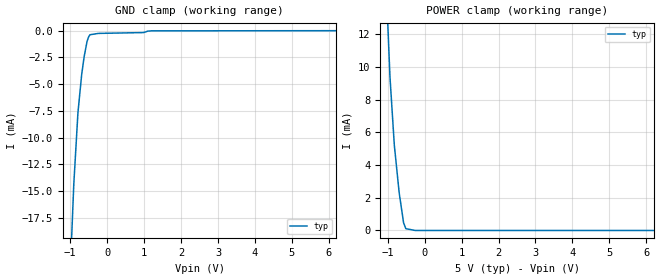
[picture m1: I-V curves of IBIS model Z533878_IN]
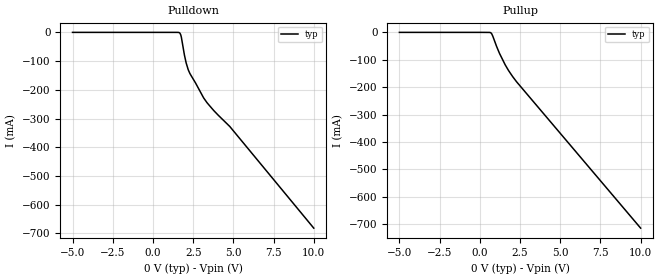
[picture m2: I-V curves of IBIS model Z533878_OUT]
| YOU ARE ONLY AUTHORIZED TO USE THIS SOFTWARE
| ACCORDING TO LICENSOR'S LICENSE RESTRICTIONS.
[IBIS Ver] 3.1
[File Name] mc10elt24d.ibs
[File Rev] 2.0
[Source] derived from MC100ELT20D Measured data
[Date] 10/10/2003
[Copyright]
| (C) COPYRIGHT 1993-2000
| MENTOR GRAPHICS CORPORATION
| ICX STANDARD LIBRARY, ICX PROJECT MODELING,
| ICX CUSTOM MODELING, ICX VENDOR MODEL
| ALL RIGHTS RESERVED.
| THE FOLLOWING ARE TRADEMARKS OR SERVICE MARKS OF
| MENTOR GRAPHICS CORPORATION:ICX (R), ICX STANDARD
| LIBRARY(R), ICX PROJECT MODELING(R), ICX CUSTOM
| MODELING(R), qualityIBIS(TM), MODELVIEWER(TM),
| AND MODELEDITOR(TM)
| ALL COPIES OF SOFTWARE, INCLUDING BUT NOT LIMITED TO
| ANY MODIFICATIONS, ENHANCEMENTS OR DERIVATIVE WORKS,
| MUST CONTAIN ALL MENTOR GRAPHICS CORPORATION'S
| NOTICES AND LEGENDS, INCLUDING THOSE EMBEDDED IN
| SOFTWARE AND THOSE AFFIXED TO SOFTWARE MEDIUM
| AND CONTAINER, AS RECEIVED FROM MENTOR GRAPHICS
| CORPORATION.
|  ZAP Model Builder 2.7
[Component] MC10ELT24D
[Manufacturer] On Semiconductor
[Package]
| variable   typ   min   max
R_pkg  .152ohms NA NA
L_pkg  2.714nH NA NA
C_pkg  .364pF NA NA
[Pin] signal_name  model_name  R_pin  L_pin C_pin
1 VEE POWER .154 2.924n .374p
2 D Z533878_IN .15 2.504n .354p
3 NC NC
4 NC NC
5 GND GND .154 2.924n .374p
6 _Q0 Z533878_OUT .15 2.504n .354p
7 Q0 Z533878_OUT .15 2.504n .354p
8 VCC POWER .154 2.924n .374p
[Diff Pin] inv_pin vdiff tdelay_typ tdelay_min tdelay_max
7 6 NA NA NA NA
| Models and submodels in the file (2): Z533878_IN (Input), Z533878_OUT (Output_ECL)
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| (C) COPYRIGHT 1993-2000
| MENTOR GRAPHICS CORPORATION
| ICX STANDARD LIBRARY, ICX PROJECT MODELING,
| ICX CUSTOM MODELING, ICX VENDOR MODEL
| ALL RIGHTS RESERVED.
| THE FOLLOWING ARE TRADEMARKS OR SERVICE MARKS OF
| MENTOR GRAPHICS CORPORATION:ICX (R), ICX STANDARD
| LIBRARY(R), ICX PROJECT MODELING(R), ICX CUSTOM
| MODELING(R), qualityIBIS(TM), MODELVIEWER(TM),
| AND MODELEDITOR(TM)
| ALL COPIES OF SOFTWARE, INCLUDING BUT NOT LIMITED TO
| ANY MODIFICATIONS, ENHANCEMENTS OR DERIVATIVE WORKS,
| MUST CONTAIN ALL MENTOR GRAPHICS CORPORATION'S
| NOTICES AND LEGENDS, INCLUDING THOSE EMBEDDED IN
| SOFTWARE AND THOSE AFFIXED TO SOFTWARE MEDIUM
| AND CONTAINER, AS RECEIVED FROM MENTOR GRAPHICS
| CORPORATION.
| Model Application Version 1.89 2/18/99.
[Model] Z533878_IN
Model_type Input
Vinl = 800.0mV
Vinh = 2.000V
C_comp 1.000pF NA NA
| variable typ   min   max
[Voltage Range] 5.000V NA NA
[GND Clamp Reference] 0.000V NA NA
[POWER Clamp Reference] 5.000V NA NA
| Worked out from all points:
|   GND clamp passes 1 mA (typ) near -0.54 V on its own axis
|   POWER clamp passes 1 mA (typ) near -0.60 V on its own axis
[GND Clamp]
-5V       -367.1mA   NA         NA
-902.2mV  -14.37mA   NA         NA
-790.2mV  -7.689mA   NA         NA
-688.6mV  -4.099mA   NA         NA
-622.9mV  -2.45mA    NA         NA
-541.8mV  -976.5uA   NA         NA
-502.2mV  -592.4uA   NA         NA
-463.9mV  -374.8uA   NA         NA
-231.9mV  -250.8uA   NA         NA
989.8mV   -172.9uA   NA         NA
1.207V    -11.63uA   NA         NA
10V       13.49uA    NA         NA
[POWER Clamp]
-5V       339mA      NA         NA
-1.054V   15.76mA    NA         NA
-938mV    9.414mA    NA         NA
-820mV    5.22mA     NA         NA
-688mV    2.297mA    NA         NA
-570mV    477.5uA    NA         NA
-509mV    110.8uA    NA         NA
-254.5mV  0A         NA         NA
10V       0A         NA         NA
| (C) COPYRIGHT 1993-2000
| MENTOR GRAPHICS CORPORATION
| ICX STANDARD LIBRARY, ICX PROJECT MODELING,
| ICX CUSTOM MODELING, ICX VENDOR MODEL
| ALL RIGHTS RESERVED.
| THE FOLLOWING ARE TRADEMARKS OR SERVICE MARKS OF
| MENTOR GRAPHICS CORPORATION:ICX (R), ICX STANDARD
| LIBRARY(R), ICX PROJECT MODELING(R), ICX CUSTOM
| MODELING(R), qualityIBIS(TM), MODELVIEWER(TM),
| AND MODELEDITOR(TM)
| ALL COPIES OF SOFTWARE, INCLUDING BUT NOT LIMITED TO
| ANY MODIFICATIONS, ENHANCEMENTS OR DERIVATIVE WORKS,
| MUST CONTAIN ALL MENTOR GRAPHICS CORPORATION'S
| NOTICES AND LEGENDS, INCLUDING THOSE EMBEDDED IN
| SOFTWARE AND THOSE AFFIXED TO SOFTWARE MEDIUM
| AND CONTAINER, AS RECEIVED FROM MENTOR GRAPHICS
| CORPORATION.
| Model Application Version 1.89 2/18/99.
[Model] Z533878_OUT
Model_type Output_ECL
Vref=-2.00V
Rref=50.00ohms
Cref=0.000F
Vmeas=-1.305V
C_comp 1.000pF NA NA
| variable typ   min   max
[Voltage Range] -5.000V NA NA
[POWER Clamp Reference] 0.000V NA NA
[Pullup Reference] 0.000V NA NA
[Pulldown Reference] 0.000V NA NA
[GND Clamp Reference] -5.000V NA NA
[GND Clamp]
-5V       0A         NA         NA
10V       0A         NA         NA
[Pulldown]
-5V       105.2uA    NA         NA
1.523V    97.34uA    NA         NA
1.68V     -2.602mA   NA         NA
1.767V    -16.41mA   NA         NA
1.957V    -78.51mA   NA         NA
2.065V    -106.1mA   NA         NA
2.198V    -130.6mA   NA         NA
2.306V    -144mA     NA         NA
3.15V     -227.9mA   NA         NA
3.779V    -272mA     NA         NA
4.78V     -327.8mA   NA         NA
10V       -681.8mA   NA         NA
[Pullup]
-5V       149uA      NA         NA
586mV     -36.23uA   NA         NA
703mV     -2.294mA   NA         NA
809mV     -13.86mA   NA         NA
1.218V    -75.67mA   NA         NA
1.573V    -117.7mA   NA         NA
1.788V    -139.2mA   NA         NA
2.285V    -180.1mA   NA         NA
10V       -714.5mA   NA         NA
[POWER Clamp]
-5V       0A         NA         NA
10V       0A         NA         NA
[Ramp]
| variable typ min max
dV/dt_r 873.0m/913.6p NA NA
dV/dt_f 873.0m/788.1p NA NA
R_load = 50.0Ohms
